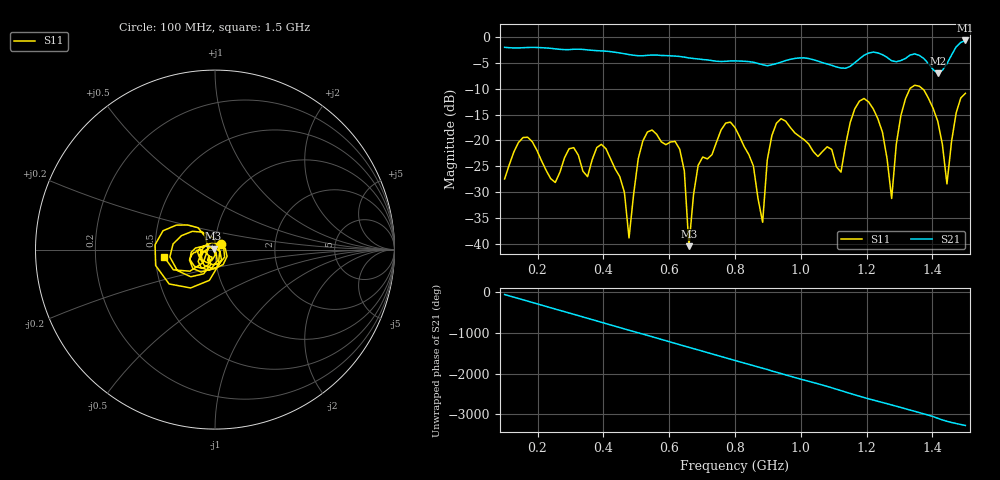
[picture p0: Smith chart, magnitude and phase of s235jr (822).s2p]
! NanoVNA-App
! Date: 2025-09-25 15:10:34
! Start: 100MHz Stop: 1,5GHz Points: 101
! S-Parameter data: F S11 S21 S12 S22
# Hz S RI R 50
!  Frequency  S11_Real  S11_Imag  S21_Real  S21_Imag  S12_Real  S12_Imag  S22_Real  S22_Imag
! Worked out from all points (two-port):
!   101 points, 100 MHz to 1.5 GHz, reference 50 ohm
!   highest |S21| = -0.64 dB at 1.5 GHz (marker M1); lowest = -7.0 dB at 1.416 GHz (marker M2)
!   |S21| within 3 dB of the highest: start of sweep to 610.7 MHz; 1.189 GHz to 1.255 GHz (65.18 MHz wide, 5.33 % of centre) (the widest 2 of 4)
!   lowest |S11| = -40.5 dB at 660 MHz (marker M3), VSWR 1.02, Z = 49.2 + j0.527 ohm
!   |S11| at or under -10 dB: start of sweep to 1.331 GHz; 1.37 GHz to end of sweep
!   S12 and S22 are empty: the file has one direction only
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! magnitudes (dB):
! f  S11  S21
! 100 MHz  -27.5  -2.0
! 156 MHz  -19.4  -2.0
! 338 MHz  -26.0  -2.4
! 408 MHz  -21.6  -2.7
! 478 MHz  -38.9  -3.4
! 520 MHz  -20.1  -3.6
! 576 MHz  -20.3  -3.5
! 632 MHz  -21.7  -3.7
! 660 MHz  -40.5  -4.0
! 688 MHz  -24.8  -4.2
! 800 MHz  -17.5  -4.6
! 884 MHz  -35.9  -5.3
! 926 MHz  -16.7  -5.1
! 1.038 GHz  -22.2  -4.4
! 1.122 GHz  -26.1  -6.0
! 1.192 GHz  -11.9  -3.5
! 1.248 GHz  -18.4  -3.4
! 1.276 GHz  -31.2  -4.6
! 1.332 GHz  -9.9  -3.5
! 1.416 GHz  -16.3  -7.0
! 1.444 GHz  -28.4  -5.1
! 1.5 GHz  -10.9  -0.6
